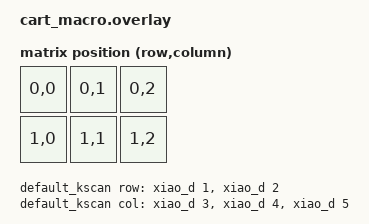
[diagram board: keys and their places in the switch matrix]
#include <dt-bindings/zmk/matrix_transform.h>
#include <physical_layouts.dtsi>

/ {
    default_kscan: kscan {
        compatible = "zmk,kscan-gpio-matrix";
        label = "default_kscan";
        diode-direction = "col2row";
        
        row-gpios
			= <&xiao_d 1 (GPIO_ACTIVE_HIGH | GPIO_PULL_DOWN)>,
			  <&xiao_d 2 (GPIO_ACTIVE_HIGH | GPIO_PULL_DOWN)>;

		col-gpios
			= <&xiao_d 3 GPIO_ACTIVE_HIGH>,
		      <&xiao_d 4 GPIO_ACTIVE_HIGH>,
              <&xiao_d 5 GPIO_ACTIVE_HIGH>;

    };
    
    default_transform: matrix_transform {
        compatible = "zmk,matrix-transform";
        columns = <3>;
        rows = <2>;
        map = <
            RC(0,0) RC(0,1) RC(0,2)
            RC(1,0) RC(1,1) RC(1,2)
        >;
    };
    
    physical_layout: physical_layout { 
        compatible = "zmk,physical-layout";
        display-name = "Default Layout";
        transform = <&default_transform>; 
        keys  //                     w   h     x    y     rot    rx    ry
            = <&key_physical_attrs 100 100     0   0       0     0     0> // Row 1
            , <&key_physical_attrs 100 100   100   0       0     0     0>
            , <&key_physical_attrs 100 100   200   0       0     0     0>
            , <&key_physical_attrs 100 100     0   100     0     0     0> // Row 2
            , <&key_physical_attrs 100 100   100   100     0     0     0>
            , <&key_physical_attrs 100 100   200   100     0     0     0>
            ;
    };
    
    
    chosen {
        zmk,kscan = &default_kscan;
        zmk,physical-layout = &physical_layout;
    };
};
